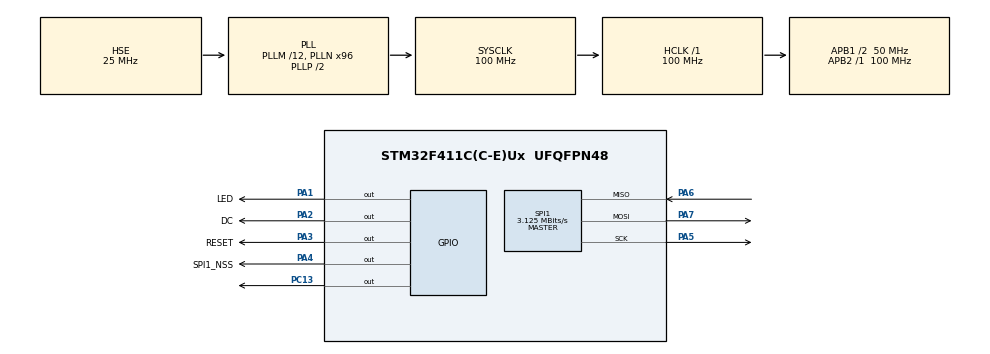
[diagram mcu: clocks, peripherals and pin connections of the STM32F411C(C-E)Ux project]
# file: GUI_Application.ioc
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Mcu.Family=STM32F4
Mcu.Name=STM32F411C(C-E)Ux
Mcu.Package=UFQFPN48
NVIC.PriorityGroup=NVIC_PRIORITYGROUP_4
PA1.GPIO_Label=LED
PA1.Signal=GPIO_Output
PA13.Mode=Serial_Wire
PA13.Signal=SYS_JTMS-SWDIO
PA14.Mode=Serial_Wire
PA14.Signal=SYS_JTCK-SWCLK
PA2.GPIO_Label=DC
PA2.Signal=GPIO_Output
PA3.GPIO_Label=RESET
PA3.Signal=GPIO_Output
PA4.GPIO_Label=SPI1_NSS
PA4.Signal=GPIO_Output
PA5.Mode=Full_Duplex_Master
PA5.Signal=SPI1_SCK
PA6.Mode=Full_Duplex_Master
PA6.Signal=SPI1_MISO
PA7.Mode=Full_Duplex_Master
PA7.Signal=SPI1_MOSI
PC13-ANTI_TAMP.Signal=GPIO_Output
PH0\ -\ OSC_IN.Mode=HSE-External-Oscillator
PH0\ -\ OSC_IN.Signal=RCC_OSC_IN
PH1\ -\ OSC_OUT.Mode=HSE-External-Oscillator
PH1\ -\ OSC_OUT.Signal=RCC_OSC_OUT
ProjectManager.HeapSize=0x200
ProjectManager.StackSize=0x400
ProjectManager.TargetToolchain=STM32CubeIDE
RCC.48MHZClocksFreq_Value=50000000
RCC.AHBFreq_Value=100000000
RCC.APB1CLKDivider=RCC_HCLK_DIV2
RCC.APB1Freq_Value=50000000
RCC.APB1TimFreq_Value=100000000
RCC.APB2Freq_Value=100000000
RCC.APB2TimFreq_Value=100000000
RCC.CortexFreq_Value=100000000
RCC.HCLKFreq_Value=100000000
RCC.HSE_VALUE=25000000
RCC.HSI_VALUE=16000000
RCC.LSE_VALUE=32768
RCC.PLLM=12
RCC.PLLN=96
RCC.PLLSourceVirtual=RCC_PLLSOURCE_HSE
RCC.SYSCLKFreq_VALUE=100000000
RCC.SYSCLKSource=RCC_SYSCLKSOURCE_PLLCLK
RCC.VCOOutputFreq_Value=200000000
SPI1.BaudRatePrescaler=SPI_BAUDRATEPRESCALER_32
SPI1.CalculateBaudRate=3.125 MBits/s
SPI1.Direction=SPI_DIRECTION_2LINES
SPI1.Mode=SPI_MODE_MASTER
SPI1.VirtualType=VM_MASTER
STMicroelectronics.X-CUBE-TOUCHGFX.4.25.0.tgfx_buffering_strategy=Partial
STMicroelectronics.X-CUBE-TOUCHGFX.4.25.0.tgfx_custom_height=320
STMicroelectronics.X-CUBE-TOUCHGFX.4.25.0.tgfx_custom_width=240
STMicroelectronics.X-CUBE-TOUCHGFX.4.25.0_IsPackSelfContextualization=true
TIM2.Period=50000-1
TIM2.Prescaler=100-1
VP_CRC_VS_CRC.Mode=CRC_Activate
VP_TIM2_VS_ClockSourceINT.Mode=Internal
board=custom

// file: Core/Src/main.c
/* USER CODE BEGIN Header */
/**
  ******************************************************************************
  * @file           : main.c
  * @brief          : Main program body
  ******************************************************************************
  * @attention
  *
  * Copyright (c) 2025 STMicroelectronics.
  * All rights reserved.
  *
  * This software is licensed under terms that can be found in the LICENSE file
  * in the root directory of this software component.
  * If no LICENSE file comes with this software, it is provided AS-IS.
  *
  ******************************************************************************
  */
/* USER CODE END Header */
#include "main.h"

/* USER CODE BEGIN Includes */
#include "ili9341.h"
//#include "ILI9341_STM32_Driver.h"

/* USER CODE END Includes */

CRC_HandleTypeDef hcrc;

SPI_HandleTypeDef hspi1;

TIM_HandleTypeDef htim2;

void SystemClock_Config(void);
static void MX_GPIO_Init(void);
static void MX_SPI1_Init(void);
static void MX_CRC_Init(void);
static void MX_TIM2_Init(void);

int main(void)
{

  /* MCU Configuration--------------------------------------------------------*/

  /* Reset of all peripherals, Initializes the Flash interface and the Systick. */
  HAL_Init();

  /* Configure the system clock */
  SystemClock_Config();

  /* Initialize all configured peripherals */
  MX_GPIO_Init();
  MX_SPI1_Init();
  MX_CRC_Init();
  MX_TIM2_Init();
  /* USER CODE BEGIN 2 */
  GPIOA->BSRR |= 1<<1;
  ILI9341_Init();
  //ILI9341_Set_Rotation(SCREEN_HORIZONTAL_1);
  // Fill the screen with cyan
  ILI9341_FillScreen(0x07FF);

  // Draw a red circle with center at (120, 160) and radius 50
  int xc = 120;
  int yc = 160;
  int r = 50;
  int x = 0;
  int y = r;
  int d = 3 - 2 * r;

  while (y >= x)
  {
    // Draw the eight octants
    ILI9341_WritePixel(xc + x, yc + y, 0xF800);
    ILI9341_WritePixel(xc - x, yc + y, 0xF800);
    ILI9341_WritePixel(xc + x, yc - y, 0xF800);
    ILI9341_WritePixel(xc - x, yc - y, 0xF800);
    ILI9341_WritePixel(xc + y, yc + x, 0xF800);
    ILI9341_WritePixel(xc - y, yc + x, 0xF800);
    ILI9341_WritePixel(xc + y, yc - x, 0xF800);
    ILI9341_WritePixel(xc - y, yc - x, 0xF800);

    x++;
    if (d > 0)
    {
      y--;
      d = d + 4 * (x - y) + 10;
    }
    else
    {
      d = d + 4 * x + 6;
    }
  }
  /* USER CODE END 2 */

  /* Infinite loop */
  /* USER CODE BEGIN WHILE */
  while (1)
  {
    // Draw a circle with center at (120, 160), radius 50, and color 0xF800 (red)

    /* USER CODE END WHILE */

  }
}

void SystemClock_Config(void)
{
  RCC_OscInitTypeDef RCC_OscInitStruct = {0};
  RCC_ClkInitTypeDef RCC_ClkInitStruct = {0};

  /** Configure the main internal regulator output voltage
  */
  __HAL_RCC_PWR_CLK_ENABLE();
  __HAL_PWR_VOLTAGESCALING_CONFIG(PWR_REGULATOR_VOLTAGE_SCALE1);

  /** Initializes the RCC Oscillators according to the specified parameters
  * in the RCC_OscInitTypeDef structure.
  */
  RCC_OscInitStruct.OscillatorType = RCC_OSCILLATORTYPE_HSE;
  RCC_OscInitStruct.HSEState = RCC_HSE_ON;
  RCC_OscInitStruct.PLL.PLLState = RCC_PLL_ON;
  RCC_OscInitStruct.PLL.PLLSource = RCC_PLLSOURCE_HSE;
  RCC_OscInitStruct.PLL.PLLM = 12;
  RCC_OscInitStruct.PLL.PLLN = 96;
  RCC_OscInitStruct.PLL.PLLP = RCC_PLLP_DIV2;
  RCC_OscInitStruct.PLL.PLLQ = 4;
  if (HAL_RCC_OscConfig(&RCC_OscInitStruct) != HAL_OK)
  {
    Error_Handler();
  }

  /** Initializes the CPU, AHB and APB buses clocks
  */
  RCC_ClkInitStruct.ClockType = RCC_CLOCKTYPE_HCLK|RCC_CLOCKTYPE_SYSCLK
                              |RCC_CLOCKTYPE_PCLK1|RCC_CLOCKTYPE_PCLK2;
  RCC_ClkInitStruct.SYSCLKSource = RCC_SYSCLKSOURCE_PLLCLK;
  RCC_ClkInitStruct.AHBCLKDivider = RCC_SYSCLK_DIV1;
  RCC_ClkInitStruct.APB1CLKDivider = RCC_HCLK_DIV2;
  RCC_ClkInitStruct.APB2CLKDivider = RCC_HCLK_DIV1;

  if (HAL_RCC_ClockConfig(&RCC_ClkInitStruct, FLASH_LATENCY_3) != HAL_OK)
  {
    Error_Handler();
  }
}

static void MX_CRC_Init(void)
{

  hcrc.Instance = CRC;
  if (HAL_CRC_Init(&hcrc) != HAL_OK)
  {
    Error_Handler();
  }

}

static void MX_SPI1_Init(void)
{

  /* SPI1 parameter configuration*/
  hspi1.Instance = SPI1;
  hspi1.Init.Mode = SPI_MODE_MASTER;
  hspi1.Init.Direction = SPI_DIRECTION_2LINES;
  hspi1.Init.DataSize = SPI_DATASIZE_8BIT;
  hspi1.Init.CLKPolarity = SPI_POLARITY_LOW;
  hspi1.Init.CLKPhase = SPI_PHASE_1EDGE;
  hspi1.Init.NSS = SPI_NSS_SOFT;
  hspi1.Init.BaudRatePrescaler = SPI_BAUDRATEPRESCALER_32;
  hspi1.Init.FirstBit = SPI_FIRSTBIT_MSB;
  hspi1.Init.TIMode = SPI_TIMODE_DISABLE;
  hspi1.Init.CRCCalculation = SPI_CRCCALCULATION_DISABLE;
  hspi1.Init.CRCPolynomial = 10;
  if (HAL_SPI_Init(&hspi1) != HAL_OK)
  {
    Error_Handler();
  }

}

static void MX_TIM2_Init(void)
{

  TIM_ClockConfigTypeDef sClockSourceConfig = {0};
  TIM_MasterConfigTypeDef sMasterConfig = {0};

  htim2.Instance = TIM2;
  htim2.Init.Prescaler = 100-1;
  htim2.Init.CounterMode = TIM_COUNTERMODE_UP;
  htim2.Init.Period = 50000-1;
  htim2.Init.ClockDivision = TIM_CLOCKDIVISION_DIV1;
  htim2.Init.AutoReloadPreload = TIM_AUTORELOAD_PRELOAD_DISABLE;
  if (HAL_TIM_Base_Init(&htim2) != HAL_OK)
  {
    Error_Handler();
  }
  sClockSourceConfig.ClockSource = TIM_CLOCKSOURCE_INTERNAL;
  if (HAL_TIM_ConfigClockSource(&htim2, &sClockSourceConfig) != HAL_OK)
  {
    Error_Handler();
  }
  sMasterConfig.MasterOutputTrigger = TIM_TRGO_RESET;
  sMasterConfig.MasterSlaveMode = TIM_MASTERSLAVEMODE_DISABLE;
  if (HAL_TIMEx_MasterConfigSynchronization(&htim2, &sMasterConfig) != HAL_OK)
  {
    Error_Handler();
  }

}

static void MX_GPIO_Init(void)
{
  GPIO_InitTypeDef GPIO_InitStruct = {0};

  /* GPIO Ports Clock Enable */
  __HAL_RCC_GPIOC_CLK_ENABLE();
  __HAL_RCC_GPIOH_CLK_ENABLE();
  __HAL_RCC_GPIOA_CLK_ENABLE();

  /*Configure GPIO pin Output Level */
  HAL_GPIO_WritePin(GPIOC, GPIO_PIN_13, GPIO_PIN_RESET);

  /*Configure GPIO pin Output Level */
  HAL_GPIO_WritePin(GPIOA, LED_Pin|DC_Pin|RESET_Pin|SPI1_NSS_Pin, GPIO_PIN_RESET);

  /*Configure GPIO pin : PC13 */
  GPIO_InitStruct.Pin = GPIO_PIN_13;
  GPIO_InitStruct.Mode = GPIO_MODE_OUTPUT_PP;
  GPIO_InitStruct.Pull = GPIO_NOPULL;
  GPIO_InitStruct.Speed = GPIO_SPEED_FREQ_LOW;
  HAL_GPIO_Init(GPIOC, &GPIO_InitStruct);

  /*Configure GPIO pins : LED_Pin DC_Pin RESET_Pin SPI1_NSS_Pin */
  GPIO_InitStruct.Pin = LED_Pin|DC_Pin|RESET_Pin|SPI1_NSS_Pin;
  GPIO_InitStruct.Mode = GPIO_MODE_OUTPUT_PP;
  GPIO_InitStruct.Pull = GPIO_NOPULL;
  GPIO_InitStruct.Speed = GPIO_SPEED_FREQ_LOW;
  HAL_GPIO_Init(GPIOA, &GPIO_InitStruct);

}

void Error_Handler(void)
{
  __disable_irq();
  while (1)
  {
  }
}
